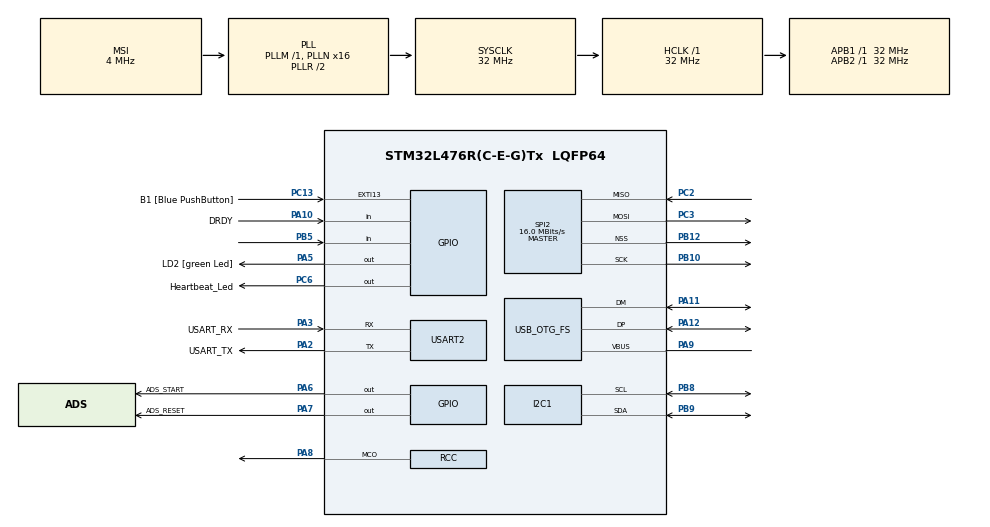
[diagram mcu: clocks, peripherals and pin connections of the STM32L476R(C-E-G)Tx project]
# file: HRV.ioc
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I2C1.Timing=0x00B07CB4
Mcu.Family=STM32L4
Mcu.Name=STM32L476R(C-E-G)Tx
Mcu.Package=LQFP64
NVIC.OTG_FS_IRQn=true\:0\:0\:false\:false\:true\:false\:true\:true
NVIC.PriorityGroup=NVIC_PRIORITYGROUP_4
PA10.GPIO_Label=DRDY
PA10.Signal=GPIO_Input
PA11.Mode=Device_Only
PA11.Signal=USB_OTG_FS_DM
PA12.Mode=Device_Only
PA12.Signal=USB_OTG_FS_DP
PA13\ (JTMS-SWDIO).GPIO_Label=TMS
PA13\ (JTMS-SWDIO).Mode=Trace_Asynchronous_SW
PA13\ (JTMS-SWDIO).Signal=SYS_JTMS-SWDIO
PA14\ (JTCK-SWCLK).GPIO_Label=TCK
PA14\ (JTCK-SWCLK).Mode=Trace_Asynchronous_SW
PA14\ (JTCK-SWCLK).Signal=SYS_JTCK-SWCLK
PA2.GPIO_Label=USART_TX
PA2.GPIO_Mode=GPIO_MODE_AF_PP
PA2.GPIO_PuPd=GPIO_NOPULL
PA2.GPIO_Speed=GPIO_SPEED_FREQ_VERY_HIGH
PA2.Mode=Asynchronous
PA2.Signal=USART2_TX
PA3.GPIO_Label=USART_RX
PA3.GPIO_Mode=GPIO_MODE_AF_PP
PA3.GPIO_PuPd=GPIO_NOPULL
PA3.GPIO_Speed=GPIO_SPEED_FREQ_VERY_HIGH
PA3.Mode=Asynchronous
PA3.Signal=USART2_RX
PA5.GPIO_Label=LD2 [green Led]
PA5.GPIO_ModeDefaultOutputPP=GPIO_MODE_OUTPUT_PP
PA5.GPIO_PuPd=GPIO_NOPULL
PA5.GPIO_Speed=GPIO_SPEED_FREQ_LOW
PA5.Signal=GPIO_Output
PA6.GPIO_Label=ADS_START
PA6.Signal=GPIO_Output
PA7.GPIO_Label=ADS_RESET
PA7.Signal=GPIO_Output
PA8.Mode=Clock-out
PA8.Signal=RCC_MCO
PA9.Mode=Activate_VBUS
PA9.Signal=USB_OTG_FS_VBUS
PB10.Mode=Full_Duplex_Master
PB10.Signal=SPI2_SCK
PB12.Mode=NSS_Signal_Hard_Output
PB12.Signal=SPI2_NSS
PB3\ (JTDO-TRACESWO).Mode=Trace_Asynchronous_SW
PB3\ (JTDO-TRACESWO).Signal=SYS_JTDO-SWO
PB5.Signal=GPIO_Input
PB8.Mode=I2C
PB8.Signal=I2C1_SCL
PB9.Mode=I2C
PB9.Signal=I2C1_SDA
PC13.GPIO_Label=B1 [Blue PushButton]
PC13.GPIO_ModeDefaultEXTI=GPIO_MODE_IT_FALLING
PC13.GPIO_PuPd=GPIO_NOPULL
PC13.Signal=GPXTI13
PC14-OSC32_IN\ (PC14).Mode=LSE-External-Oscillator
PC14-OSC32_IN\ (PC14).Signal=RCC_OSC32_IN
PC15-OSC32_OUT\ (PC15).Mode=LSE-External-Oscillator
PC15-OSC32_OUT\ (PC15).Signal=RCC_OSC32_OUT
PC2.Mode=Full_Duplex_Master
PC2.Signal=SPI2_MISO
PC3.Mode=Full_Duplex_Master
PC3.Signal=SPI2_MOSI
PC6.GPIO_Label=Heartbeat_Led
PC6.Signal=GPIO_Output
PH0-OSC_IN\ (PH0).Mode=HSE-External-Oscillator
PH0-OSC_IN\ (PH0).Signal=RCC_OSC_IN
PH1-OSC_OUT\ (PH1).Mode=HSE-External-Oscillator
PH1-OSC_OUT\ (PH1).Signal=RCC_OSC_OUT
ProjectManager.HeapSize=0x200
ProjectManager.StackSize=0x400
ProjectManager.TargetToolchain=STM32CubeIDE
RCC.ADCFreq_Value=48000000
RCC.AHBFreq_Value=32000000
RCC.APB1Freq_Value=32000000
RCC.APB1TimFreq_Value=32000000
RCC.APB2Freq_Value=32000000
RCC.APB2TimFreq_Value=32000000
RCC.CortexFreq_Value=32000000
RCC.HCLKFreq_Value=32000000
RCC.HSE_VALUE=8000000
RCC.HSI_VALUE=16000000
RCC.MSI_VALUE=4000000
RCC.PLLN=16
RCC.PLLSAI1N=24
RCC.PREFETCH_ENABLE=1
RCC.SYSCLKFreq_VALUE=32000000
RCC.SYSCLKSource=RCC_SYSCLKSOURCE_PLLCLK
RCC.USBFreq_Value=48000000
RCC.VCOOutputFreq_Value=64000000
SPI2.CalculateBaudRate=16.0 MBits/s
SPI2.Direction=SPI_DIRECTION_2LINES
SPI2.Mode=SPI_MODE_MASTER
SPI2.VirtualNSS=VM_NSSHARD
SPI2.VirtualType=VM_MASTER
USART2.VirtualMode-Asynchronous=VM_ASYNC
USB_DEVICE.CLASS_NAME_FS=CDC
USB_DEVICE.VirtualMode=Cdc
USB_DEVICE.VirtualModeFS=Cdc_FS
USB_OTG_FS.VirtualMode=Device_Only
VP_USB_DEVICE_VS_USB_DEVICE_CDC_FS.Mode=CDC_FS
board=NUCLEO-L476RG

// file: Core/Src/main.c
/* USER CODE BEGIN Header */
/**
  ******************************************************************************
  * @file           : main.c
  * @brief          : Dual vital-signs monitor — ADS1292R ECG + MPU6050 respiration
  *
  * Serial output (115200 baud, USART2):
  *   t_us,ecg_mv,resp_mm,resp_max,resp_min\r\n   ← every ECG sample (100 SPS)
  *   # BPM=xx.x\r\n                               ← on every detected beat
  *   # HRV SDNN=x RMSSD=x pNN50=x RR=x BEATS=x  ← HRV after 8+ beats
  *
  * UART commands (from dashboard):
  *   'r'  reset respiration peak envelope
  *   'b'  recalibrate respiration baseline
  *
  * TIM2 is configured as a free-running 1 MHz (1 µs/tick) counter for
  * accurate RR-interval timestamps used by the HRV calculation.
  ******************************************************************************
  */
/* USER CODE END Header */
#include "main.h"
#include "usb_device.h"

/* USER CODE BEGIN Includes */
#include "usbd_cdc_if.h"
#include "usbd_def.h"
#include "MPU6050.h"
#include "ads1292r.h"
#include <stdio.h>
#include <math.h>
/* USER CODE END Includes */

/* USER CODE BEGIN PTD */
typedef struct __attribute__((packed)) {
    uint32_t magic;
    uint32_t t_us;
    float    mv;
    float    resp_mm;
} CombinedPacket_t;

_Static_assert(sizeof(CombinedPacket_t) == 16, "CombinedPacket_t size mismatch");
/* USER CODE END PTD */

/* USER CODE BEGIN PD */
#define CHEST_LENGTH_CM   12.0f   /* sensor-to-sternum distance — tune per patient */
#define SAMPLE_RATE_US    20000U  /* 50 Hz respiration tick                         */
#define COMP_ALPHA        0.98f   /* complementary filter gyro weight               */
#define LP_ALPHA          0.20f   /* low-pass on angle                              */
#define BASELINE_SAMPLES  100U
#define BIAS_SAMPLES      10U
#define USB_ONLY_DIAGNOSTIC 0U
#define FAST_SENSOR_STARTUP 1U
#define ADS_PROCESS_US    10000U
#define SAMPLE_RATE_MS    20U
#define USB_BATCH_PACKETS 8U
#define USB_BATCH_MS      (SAMPLE_RATE_MS * USB_BATCH_PACKETS)
#define ADS_PROCESS_MS    160U
#define STREAM_CAL_SAMPLES 100U
#define USB_PACKET_MAGIC  0x31565248U /* "HRV1", little-endian */
#define ENABLE_ADS1292R   1U
#define ENABLE_MPU6050    1U
/* USER CODE END PD */

I2C_HandleTypeDef hi2c1;

SPI_HandleTypeDef hspi2;

UART_HandleTypeDef huart2;

/* USER CODE BEGIN PV */
extern Struct_MPU6050 MPU6050;
extern USBD_HandleTypeDef hUsbDeviceFS;

#if !FAST_SENSOR_STARTUP
static float gyro_bias_x = 0.0f;
#endif
static float gyro_bias_y = 0.0f;
#if !FAST_SENSOR_STARTUP
static float gyro_bias_z = 0.0f;
#endif

static float baselineAngle = 0.0f;
static float fusedAngle    = 0.0f;
static float lpFiltered    = 0.0f;

static float peakMax = -9999.0f;
static float peakMin =  9999.0f;
static float displacement_mm = 0.0f;

static uint32_t prevTime       = 0;
static uint32_t lastSampleTime = 0;
static uint32_t lastAdsProcessTime = 0;
static uint32_t prevSampleMs = 0;
static uint32_t lastSampleMs = 0;
static uint32_t lastAdsProcessMs = 0;
static uint32_t streamCalCount = 0;
static float streamCalPitchSum = 0.0f;
static float streamCalGyroYSum = 0.0f;
/* USER CODE END PV */

void SystemClock_Config(void);
static void MX_GPIO_Init(void);
static void MX_USART2_UART_Init(void);
static void MX_I2C1_Init(void);
static void MX_SPI2_Init(void);
/* USER CODE BEGIN PFP */
#if !FAST_SENSOR_STARTUP
static void MeasureBaseline(void);
#endif
static void ResetPeaks(void);
static void HandleUARTCommands(void);
static uint8_t SendCombinedUSBBatch(uint32_t newest_ms);
static void UpdateSample(uint32_t sample_ms);
/* USER CODE END PFP */

/* USER CODE BEGIN 0 */
static inline void delay_us_tim2(uint32_t us)
{
    uint32_t t0 = TIM2->CNT;
    while ((TIM2->CNT - t0) < us) {}
}

#if !FAST_SENSOR_STARTUP
static void MeasureBaseline(void)
{
    float sum = 0.0f;
    for (uint32_t i = 0; i < BASELINE_SAMPLES; i++) {
        MPU6050_ProcessData(&MPU6050);
        sum += MPU6050_GetPitchDeg(&MPU6050);
        delay_us_tim2(5000U);
    }
    baselineAngle = sum / (float)BASELINE_SAMPLES;
    fusedAngle    = baselineAngle;
    lpFiltered    = 0.0f;
}
#endif

static void ResetPeaks(void)
{
    peakMax = -9999.0f;
    peakMin =  9999.0f;
}

static void HandleUARTCommands(void)
{
    uint8_t ch;
    while (HAL_UART_Receive(&huart2, &ch, 1, 0) == HAL_OK) {
        if (ch == 'r') ResetPeaks();
    }
}

static void UpdateSample(uint32_t sample_ms)
{
#if ENABLE_MPU6050
    MPU6050_ProcessData(&MPU6050);

    float accelAngle = MPU6050_GetPitchDeg(&MPU6050);
    float gyroRate = MPU6050.gyro_y - gyro_bias_y;

    if (streamCalCount < STREAM_CAL_SAMPLES) {
        streamCalPitchSum += accelAngle;
        streamCalGyroYSum += MPU6050.gyro_y;
        streamCalCount++;

        if (streamCalCount == STREAM_CAL_SAMPLES) {
            baselineAngle = streamCalPitchSum / (float)STREAM_CAL_SAMPLES;
            gyro_bias_y = streamCalGyroYSum / (float)STREAM_CAL_SAMPLES;
            fusedAngle = baselineAngle;
            lpFiltered = 0.0f;
            prevSampleMs = sample_ms;
            ResetPeaks();
        }

        displacement_mm = 0.0f;
        return;
    }

    float dt = (sample_ms - prevSampleMs) / 1000.0f;
    prevSampleMs = sample_ms;

    fusedAngle = COMP_ALPHA * (fusedAngle + gyroRate * dt)
               + (1.0f - COMP_ALPHA) * accelAngle;

    float relativeAngle = fusedAngle - baselineAngle;
    lpFiltered = LP_ALPHA * relativeAngle
               + (1.0f - LP_ALPHA) * lpFiltered;

    displacement_mm = 10.0f * CHEST_LENGTH_CM
                    * sinf(lpFiltered * (float)M_PI / 180.0f);

    if (displacement_mm > peakMax) peakMax = displacement_mm;
    if (displacement_mm < peakMin) peakMin = displacement_mm;
#else
    (void)sample_ms;
    displacement_mm = 0.0f;
    peakMax = 0.0f;
    peakMin = 0.0f;
#endif
}

static uint8_t SendCombinedUSBBatch(uint32_t newest_ms)
{
    static CombinedPacket_t batch[USB_BATCH_PACKETS];

    if (hUsbDeviceFS.dev_state != USBD_STATE_CONFIGURED) {
        return USBD_FAIL;
    }
    if (!CDC_IsHostConnected_FS()) {
        return USBD_FAIL;
    }

    for (uint32_t i = 0; i < USB_BATCH_PACKETS; i++) {
        uint32_t sample_ms = newest_ms - ((USB_BATCH_PACKETS - 1U - i) * SAMPLE_RATE_MS);
        UpdateSample(sample_ms);
#if ENABLE_ADS1292R
        if ((sample_ms - lastAdsProcessMs) >= ADS_PROCESS_MS) {
            lastAdsProcessMs = sample_ms;
            ADS1292R_Process(displacement_mm, peakMax, peakMin);
        }
#endif
        batch[i] = (CombinedPacket_t) {
            .magic = USB_PACKET_MAGIC,
            .t_us = sample_ms * 1000U,
#if ENABLE_ADS1292R
            .mv = ADS1292R_GetLatestMv(),
#else
            .mv = 0.0f,
#endif
            .resp_mm = displacement_mm,
        };
    }

    return CDC_Transmit_FS((uint8_t *)batch, sizeof(batch));
}

/* USER CODE END 0 */

int main(void)
{

  /* MCU Configuration--------------------------------------------------------*/

  /* Reset of all peripherals, Initializes the Flash interface and the Systick. */
  HAL_Init();

  /* Configure the system clock */
  SystemClock_Config();

  /* Initialize all configured peripherals */
  MX_GPIO_Init();
#if !USB_ONLY_DIAGNOSTIC
  MX_USART2_UART_Init();
#if ENABLE_MPU6050
  MX_I2C1_Init();
#endif
#if ENABLE_ADS1292R
  MX_SPI2_Init();
#endif
#endif
  /* USER CODE BEGIN 2 */
    __HAL_RCC_TIM2_CLK_ENABLE();
    TIM2->PSC = (SystemCoreClock / 1000000U) - 1U;
    TIM2->ARR = 0xFFFFFFFFU;
    TIM2->CNT = 0;
    TIM2->CR1 = TIM_CR1_CEN;

    MX_USB_DEVICE_Init();

#if USB_ONLY_DIAGNOSTIC
    lastSampleMs = HAL_GetTick();
#else
#if ENABLE_MPU6050
    /* ---- MPU6050 init ---- */
    MPU6050_Initialization();
#if !FAST_SENSOR_STARTUP
    MPU6050_CalibrateGyro(6);
    MPU6050_CalibrateAccel(6);
    MPU6050_PrintActiveOffsets();
    delay_us_tim2(1000000U);

    printf("Measuring gyro bias...\r\n");
    MPU6050_MeasureGyroBiasXYZ(BIAS_SAMPLES, 10,
                                &gyro_bias_x, &gyro_bias_y, &gyro_bias_z);
    printf("Gyro bias: bx=%.6f by=%.6f bz=%.6f deg/s\r\n",
           gyro_bias_x, gyro_bias_y, gyro_bias_z);

    printf("Measuring respiration baseline...\r\n");
    MeasureBaseline();
#else
    MPU6050_ProcessData(&MPU6050);
    baselineAngle = MPU6050_GetPitchDeg(&MPU6050);
    fusedAngle    = baselineAngle;
    lpFiltered    = 0.0f;
#endif
#endif

    prevTime       = TIM2->CNT;
    lastSampleTime = TIM2->CNT;
    lastAdsProcessTime = TIM2->CNT;
    prevSampleMs = HAL_GetTick();
    lastSampleMs = prevSampleMs;
    lastAdsProcessMs = prevSampleMs;

#if ENABLE_ADS1292R
    /* ---- ADS1292R init (after SPI2 + GPIO + TIM2) ---- */
    ADS1292R_Init();
#endif
#endif

  /* USER CODE END 2 */

  /* Infinite loop */
  /* USER CODE BEGIN WHILE */
    while (1)
    {
#if USB_ONLY_DIAGNOSTIC
        uint32_t nowMs = HAL_GetTick();
        if ((nowMs - lastSampleMs) >= USB_BATCH_MS) {
            lastSampleMs = nowMs;
            (void)SendCombinedUSBBatch(nowMs);
        }
#else
        HandleUARTCommands();

        /* ---- Respiration tick @ 50 Hz ---- */
        uint32_t nowMs = HAL_GetTick();
        if ((nowMs - lastSampleMs) >= USB_BATCH_MS) {
            lastSampleMs = nowMs;
            (void)SendCombinedUSBBatch(nowMs);
        }
#endif

    /* USER CODE END WHILE */

    }
}

void SystemClock_Config(void)
{
  RCC_OscInitTypeDef RCC_OscInitStruct = {0};
  RCC_ClkInitTypeDef RCC_ClkInitStruct = {0};

  /** Configure the main internal regulator output voltage
  */
  if (HAL_PWREx_ControlVoltageScaling(PWR_REGULATOR_VOLTAGE_SCALE1) != HAL_OK)
  {
    Error_Handler();
  }

  /** Configure LSE Drive Capability
  */
  HAL_PWR_EnableBkUpAccess();
  __HAL_RCC_LSEDRIVE_CONFIG(RCC_LSEDRIVE_LOW);

  /** Initializes the RCC Oscillators according to the specified parameters
  * in the RCC_OscInitTypeDef structure.
  */
  RCC_OscInitStruct.OscillatorType = RCC_OSCILLATORTYPE_LSE|RCC_OSCILLATORTYPE_MSI;
  RCC_OscInitStruct.LSEState = RCC_LSE_ON;
  RCC_OscInitStruct.MSIState = RCC_MSI_ON;
  RCC_OscInitStruct.MSICalibrationValue = 0;
  RCC_OscInitStruct.MSIClockRange = RCC_MSIRANGE_6;
  RCC_OscInitStruct.PLL.PLLState = RCC_PLL_ON;
  RCC_OscInitStruct.PLL.PLLSource = RCC_PLLSOURCE_MSI;
  RCC_OscInitStruct.PLL.PLLM = 1;
  RCC_OscInitStruct.PLL.PLLN = 16;
  RCC_OscInitStruct.PLL.PLLP = RCC_PLLP_DIV7;
  RCC_OscInitStruct.PLL.PLLQ = RCC_PLLQ_DIV2;
  RCC_OscInitStruct.PLL.PLLR = RCC_PLLR_DIV2;
  if (HAL_RCC_OscConfig(&RCC_OscInitStruct) != HAL_OK)
  {
    Error_Handler();
  }

  /** Initializes the CPU, AHB and APB buses clocks
  */
  RCC_ClkInitStruct.ClockType = RCC_CLOCKTYPE_HCLK|RCC_CLOCKTYPE_SYSCLK
                              |RCC_CLOCKTYPE_PCLK1|RCC_CLOCKTYPE_PCLK2;
  RCC_ClkInitStruct.SYSCLKSource = RCC_SYSCLKSOURCE_PLLCLK;
  RCC_ClkInitStruct.AHBCLKDivider = RCC_SYSCLK_DIV1;
  RCC_ClkInitStruct.APB1CLKDivider = RCC_HCLK_DIV1;
  RCC_ClkInitStruct.APB2CLKDivider = RCC_HCLK_DIV1;

  if (HAL_RCC_ClockConfig(&RCC_ClkInitStruct, FLASH_LATENCY_1) != HAL_OK)
  {
    Error_Handler();
  }
  HAL_RCC_MCOConfig(RCC_MCO1, RCC_MCO1SOURCE_SYSCLK, RCC_MCODIV_1);

  /** Enable MSI Auto calibration
  */
  HAL_RCCEx_EnableMSIPLLMode();
}

static void MX_I2C1_Init(void)
{

  hi2c1.Instance = I2C1;
  hi2c1.Init.Timing = 0x00B07CB4;
  hi2c1.Init.OwnAddress1 = 0;
  hi2c1.Init.AddressingMode = I2C_ADDRESSINGMODE_7BIT;
  hi2c1.Init.DualAddressMode = I2C_DUALADDRESS_DISABLE;
  hi2c1.Init.OwnAddress2 = 0;
  hi2c1.Init.OwnAddress2Masks = I2C_OA2_NOMASK;
  hi2c1.Init.GeneralCallMode = I2C_GENERALCALL_DISABLE;
  hi2c1.Init.NoStretchMode = I2C_NOSTRETCH_DISABLE;
  if (HAL_I2C_Init(&hi2c1) != HAL_OK)
  {
    Error_Handler();
  }

  /** Configure Analogue filter
  */
  if (HAL_I2CEx_ConfigAnalogFilter(&hi2c1, I2C_ANALOGFILTER_ENABLE) != HAL_OK)
  {
    Error_Handler();
  }

  /** Configure Digital filter
  */
  if (HAL_I2CEx_ConfigDigitalFilter(&hi2c1, 0) != HAL_OK)
  {
    Error_Handler();
  }

}

static void MX_SPI2_Init(void)
{

  /* SPI2 parameter configuration*/
  hspi2.Instance = SPI2;
  hspi2.Init.Mode = SPI_MODE_MASTER;
  hspi2.Init.Direction = SPI_DIRECTION_2LINES;
  hspi2.Init.DataSize = SPI_DATASIZE_4BIT;
  hspi2.Init.CLKPolarity = SPI_POLARITY_LOW;
  hspi2.Init.CLKPhase = SPI_PHASE_1EDGE;
  hspi2.Init.NSS = SPI_NSS_HARD_OUTPUT;
  hspi2.Init.BaudRatePrescaler = SPI_BAUDRATEPRESCALER_8;
  hspi2.Init.FirstBit = SPI_FIRSTBIT_MSB;
  hspi2.Init.TIMode = SPI_TIMODE_DISABLE;
  hspi2.Init.CRCCalculation = SPI_CRCCALCULATION_DISABLE;
  hspi2.Init.CRCPolynomial = 7;
  hspi2.Init.CRCLength = SPI_CRC_LENGTH_DATASIZE;
  hspi2.Init.NSSPMode = SPI_NSS_PULSE_ENABLE;
  if (HAL_SPI_Init(&hspi2) != HAL_OK)
  {
    Error_Handler();
  }

}

static void MX_USART2_UART_Init(void)
{

  huart2.Instance = USART2;
  huart2.Init.BaudRate = 115200;
  huart2.Init.WordLength = UART_WORDLENGTH_8B;
  huart2.Init.StopBits = UART_STOPBITS_1;
  huart2.Init.Parity = UART_PARITY_NONE;
  huart2.Init.Mode = UART_MODE_TX_RX;
  huart2.Init.HwFlowCtl = UART_HWCONTROL_NONE;
  huart2.Init.OverSampling = UART_OVERSAMPLING_16;
  huart2.Init.OneBitSampling = UART_ONE_BIT_SAMPLE_DISABLE;
  huart2.AdvancedInit.AdvFeatureInit = UART_ADVFEATURE_NO_INIT;
  if (HAL_UART_Init(&huart2) != HAL_OK)
  {
    Error_Handler();
  }

}

static void MX_GPIO_Init(void)
{
  GPIO_InitTypeDef GPIO_InitStruct = {0};

  /* GPIO Ports Clock Enable */
  __HAL_RCC_GPIOC_CLK_ENABLE();
  __HAL_RCC_GPIOH_CLK_ENABLE();
  __HAL_RCC_GPIOA_CLK_ENABLE();
  __HAL_RCC_GPIOB_CLK_ENABLE();

  /*Configure GPIO pin Output Level */
  HAL_GPIO_WritePin(GPIOA, LD2_Pin|ADS_START_Pin|ADS_RESET_Pin, GPIO_PIN_RESET);

  /*Configure GPIO pin Output Level */
  HAL_GPIO_WritePin(Heartbeat_Led_GPIO_Port, Heartbeat_Led_Pin, GPIO_PIN_RESET);

  /*Configure GPIO pin : B1_Pin */
  GPIO_InitStruct.Pin = B1_Pin;
  GPIO_InitStruct.Mode = GPIO_MODE_IT_FALLING;
  GPIO_InitStruct.Pull = GPIO_NOPULL;
  HAL_GPIO_Init(B1_GPIO_Port, &GPIO_InitStruct);

  /*Configure GPIO pins : LD2_Pin ADS_START_Pin ADS_RESET_Pin */
  GPIO_InitStruct.Pin = LD2_Pin|ADS_START_Pin|ADS_RESET_Pin;
  GPIO_InitStruct.Mode = GPIO_MODE_OUTPUT_PP;
  GPIO_InitStruct.Pull = GPIO_NOPULL;
  GPIO_InitStruct.Speed = GPIO_SPEED_FREQ_LOW;
  HAL_GPIO_Init(GPIOA, &GPIO_InitStruct);

  /*Configure GPIO pin : Heartbeat_Led_Pin */
  GPIO_InitStruct.Pin = Heartbeat_Led_Pin;
  GPIO_InitStruct.Mode = GPIO_MODE_OUTPUT_PP;
  GPIO_InitStruct.Pull = GPIO_NOPULL;
  GPIO_InitStruct.Speed = GPIO_SPEED_FREQ_LOW;
  HAL_GPIO_Init(Heartbeat_Led_GPIO_Port, &GPIO_InitStruct);

  /*Configure GPIO pin : PA8 */
  GPIO_InitStruct.Pin = GPIO_PIN_8;
  GPIO_InitStruct.Mode = GPIO_MODE_AF_PP;
  GPIO_InitStruct.Pull = GPIO_NOPULL;
  GPIO_InitStruct.Speed = GPIO_SPEED_FREQ_LOW;
  GPIO_InitStruct.Alternate = GPIO_AF0_MCO;
  HAL_GPIO_Init(GPIOA, &GPIO_InitStruct);

  /*Configure GPIO pin : DRDY_Pin */
  GPIO_InitStruct.Pin = DRDY_Pin;
  GPIO_InitStruct.Mode = GPIO_MODE_INPUT;
  GPIO_InitStruct.Pull = GPIO_PULLUP;
  HAL_GPIO_Init(DRDY_GPIO_Port, &GPIO_InitStruct);

  /*Configure GPIO pin : PB5 */
  GPIO_InitStruct.Pin = GPIO_PIN_5;
  GPIO_InitStruct.Mode = GPIO_MODE_INPUT;
  GPIO_InitStruct.Pull = GPIO_NOPULL;
  HAL_GPIO_Init(GPIOB, &GPIO_InitStruct);

}

void Error_Handler(void)
{
  __disable_irq();
  while (1)
  {
  }
}
